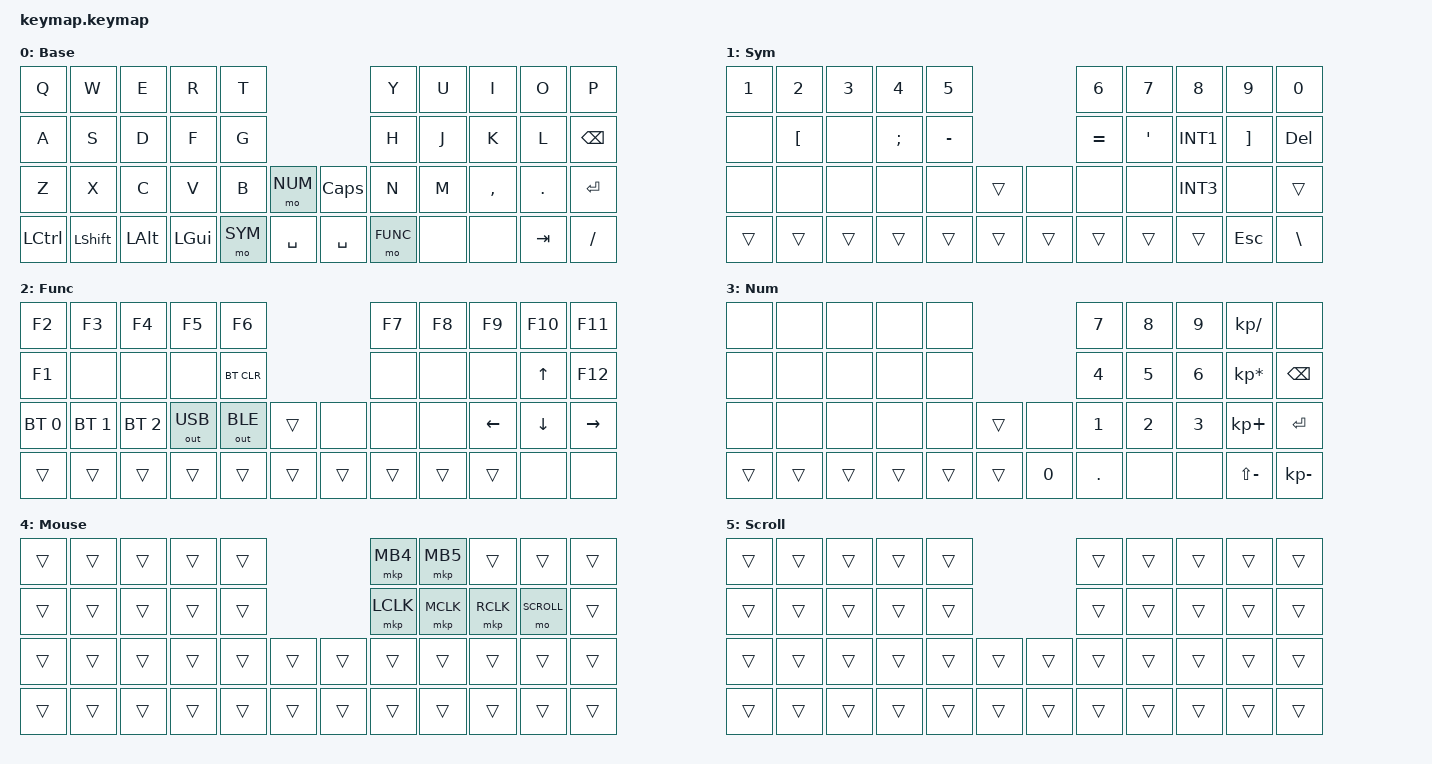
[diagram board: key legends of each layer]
/*
 * torabo-tsuki LP (S size, right trackball) keymap
 * Based on the owner's Cornix (Vial) keymap 260707.vil.
 *
 * Key positions (S layout):
 *   0  1  2  3  4                    5  6  7  8  9
 *  10 11 12 13 14                   15 16 17 18 19
 *  20 21 22 23 24 25             26 27 28 29 30 31
 *  32 33 34 35 36 37             38 39 40 41 42 43
 *  35-37: left thumbs, 38-39: right thumbs, 40-41: under the trackball (no switch)
 */

#include <behaviors.dtsi>
#include <dt-bindings/zmk/bt.h>
#include <dt-bindings/zmk/keys.h>
#include <dt-bindings/zmk/outputs.h>
#include <dt-bindings/zmk/pointing.h>
#include <input/processors.dtsi>
#include <dt-bindings/zmk/input_transform.h>

#define BASE   0
#define SYM    1
#define FUNC   2
#define NUM    3
#define MOUSE  4
#define SCROLL 5

/ {
    chosen {
        zmk,physical-layout = &physical_layout_s;
    };
};

/* Auto mouse layer: moving the ball activates MOUSE for 1000 ms.
 * Pressing any key except the ones below turns it off immediately. */
&zip_temp_layer {
    require-prior-idle-ms = <200>;
    excluded-positions = <5 6 15 16 17 18 32 33 34 35>;
};

&pointing_listener {
    input-processors =
        <&zip_xy_transform (INPUT_TRANSFORM_X_INVERT | INPUT_TRANSFORM_Y_INVERT)>,
        <&zip_temp_layer MOUSE 1000>;

    /* Hold the scroll key on the MOUSE layer: ball scrolls instead of moving the cursor. */
    scroller {
        layers = <SCROLL>;
        input-processors =
            <&zip_xy_transform INPUT_TRANSFORM_X_INVERT>,
            <&zip_xy_to_scroll_mapper>,
            <&zip_scroll_scaler 1 6>;
    };
};

/ {
    keymap {
        compatible = "zmk,keymap";

        base_layer {
            display-name = "Base";
            bindings = <
&kp Q      &kp W      &kp E     &kp R     &kp T                                       &kp Y     &kp U      &kp I      &kp O     &kp P
&kp A      &kp S      &kp D     &kp F     &kp G                                       &kp H     &kp J      &kp K      &kp L     &kp BSPC
&kp Z      &kp X      &kp C     &kp V     &kp B     &mo NUM             &kp CAPS      &kp N     &kp M      &kp COMMA  &kp DOT   &kp RET
&kp LCTRL  &kp LSHFT  &kp LALT  &kp LGUI  &mo SYM   &kp SPACE           &kp SPACE     &mo FUNC  &none      &none      &kp TAB   &kp FSLH
            >;
        };

        sym_layer {
            display-name = "Sym";
            bindings = <
&kp N1     &kp N2     &kp N3    &kp N4    &kp N5                                      &kp N6     &kp N7   &kp N8    &kp N9    &kp N0
&none      &kp LBKT   &none     &kp SEMI  &kp MINUS                                   &kp EQUAL  &kp SQT  &kp INT1  &kp RBKT  &kp DEL
&none      &none      &none     &none     &none     &trans              &none         &none      &none    &kp INT3  &none     &trans
&trans     &trans     &trans    &trans    &trans    &trans              &trans        &trans     &trans   &trans    &kp ESC   &kp BSLH
            >;
        };

        func_layer {
            display-name = "Func";
            bindings = <
&kp F2         &kp F3         &kp F4         &kp F5        &kp F6                                &kp F7  &kp F8  &kp F9    &kp F10   &kp F11
&kp F1         &none          &none          &none         &bt BT_CLR                            &none   &none   &none     &kp UP    &kp F12
&bt BT_SEL 0   &bt BT_SEL 1   &bt BT_SEL 2   &out OUT_USB  &out OUT_BLE  &trans          &none   &none   &none   &kp LEFT  &kp DOWN  &kp RIGHT
&trans         &trans         &trans         &trans        &trans        &trans          &trans  &trans  &trans  &trans    &none     &none
            >;
        };

        num_layer {
            display-name = "Num";
            bindings = <
&none      &none      &none     &none     &none                                       &kp N7    &kp N8    &kp N9    &kp KP_SLASH     &none
&none      &none      &none     &none     &none                                       &kp N4    &kp N5    &kp N6    &kp KP_MULTIPLY  &kp BSPC
&none      &none      &none     &none     &none     &trans              &none         &kp N1    &kp N2    &kp N3    &kp KP_PLUS      &kp RET
&trans     &trans     &trans    &trans    &trans    &trans              &kp N0        &kp DOT   &none     &none     &kp LS(MINUS)    &kp KP_MINUS
            >;
        };

        mouse_layer {
            display-name = "Mouse";
            bindings = <
&trans     &trans     &trans    &trans    &trans                                      &mkp MB4   &mkp MB5   &trans     &trans      &trans
&trans     &trans     &trans    &trans    &trans                                      &mkp LCLK  &mkp MCLK  &mkp RCLK  &mo SCROLL  &trans
&trans     &trans     &trans    &trans    &trans    &trans              &trans        &trans     &trans     &trans     &trans      &trans
&trans     &trans     &trans    &trans    &trans    &trans              &trans        &trans     &trans     &trans     &trans      &trans
            >;
        };

        scroll_layer {
            display-name = "Scroll";
            bindings = <
&trans     &trans     &trans    &trans    &trans                                      &trans    &trans    &trans    &trans    &trans
&trans     &trans     &trans    &trans    &trans                                      &trans    &trans    &trans    &trans    &trans
&trans     &trans     &trans    &trans    &trans    &trans              &trans        &trans    &trans    &trans    &trans    &trans
&trans     &trans     &trans    &trans    &trans    &trans              &trans        &trans    &trans    &trans    &trans    &trans
            >;
        };
    };
};
